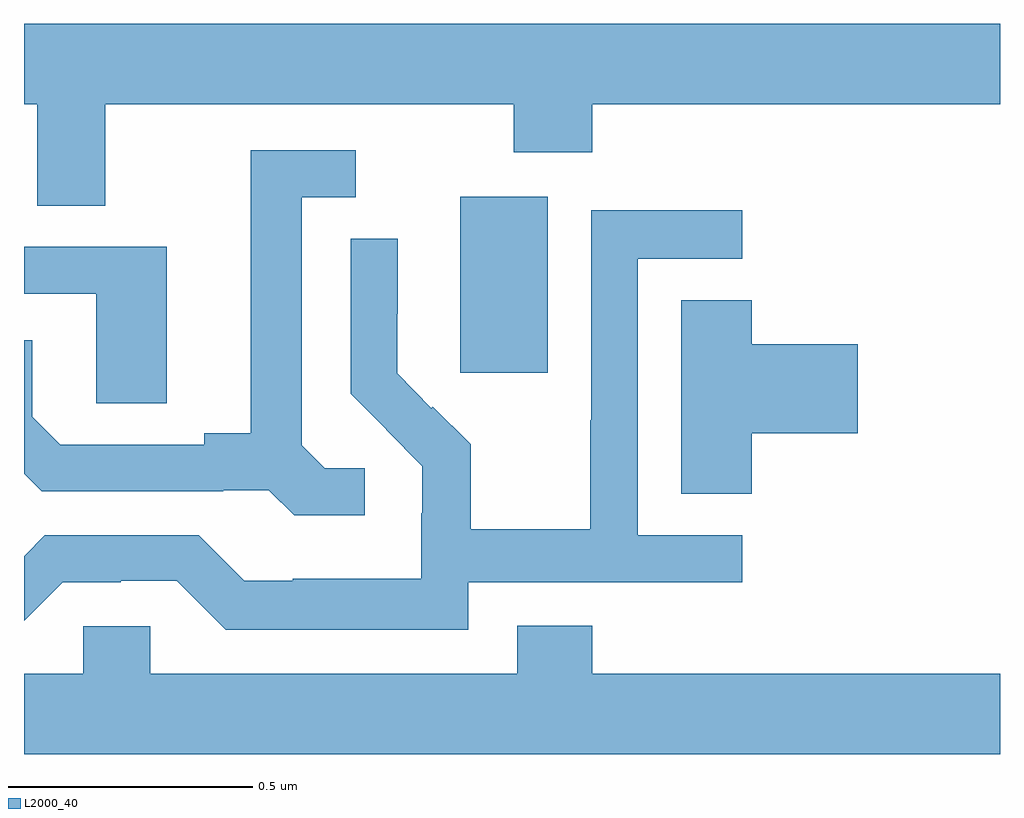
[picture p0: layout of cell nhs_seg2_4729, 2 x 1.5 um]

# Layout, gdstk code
import gdstk
lib = gdstk.Library(unit=1e-6, precision=1e-09)
def R(c, l, rs):  # rectangles x0, y0, x1, y1
    for r in rs: c.add(gdstk.rectangle(r[:2], r[2:], *l))
def P(c, l, *ps):  # polygons
    for p in ps: c.add(gdstk.Polygon(p, *l))
L2000_40 = (2000, 40)

nhs_seg2_4729 = lib.new_cell('nhs_seg2_4729')
R(nhs_seg2_4729, L2000_40, [(170.894,613.785,171.073,614.146)])
P(nhs_seg2_4729, L2000_40, [(170.167,614.336),(171.004,614.336),(171.004,614.237),(171.164,614.237),(171.164,614.336),(172,614.336),(172,614.5),(170,614.5),(170,614.336),(170.027,614.336),(170.027,614.128),(170.167,614.128)],
  [(170.698,613.59),(170.616,613.59),(170.569,613.637),(170.569,614.145),(170.68,614.145),(170.68,614.241),(170.465,614.241),(170.465,613.661),(170.369,613.661),(170.369,613.638),(170.074,613.638),(170.017,613.695),(170.017,613.852),(170,613.852),(170,613.578),(170.036,613.542),(170.408,613.542),(170.408,613.545),(170.502,613.545),(170.554,613.493),(170.698,613.493)],
  [(170.91,613.356),(171.472,613.356),(171.472,613.452),(171.258,613.452),(171.258,614.019),(171.472,614.019),(171.472,614.118),(171.162,614.118),(171.162,613.688),(171.16,613.688),(171.16,613.465),(170.915,613.465),(170.915,613.639),(170.838,613.716),(170.835,613.713),(170.765,613.784),(170.765,613.906),(170.766,613.906),(170.766,614.06),(170.67,614.06),(170.67,613.742),(170.743,613.669),(170.742,613.668),(170.816,613.594),(170.816,613.497),(170.814,613.497),(170.814,613.363),(170.551,613.363),(170.551,613.359),(170.451,613.359),(170.358,613.452),(170.043,613.452),(170,613.409),(170,613.277),(170.079,613.356),(170.198,613.356),(170.198,613.359),(170.313,613.359),(170.413,613.259),(170.91,613.259)],
  [(170.293,614.043),(170,614.043),(170,613.947),(170.148,613.947),(170.148,613.723),(170.293,613.723)],
  [(171.491,613.661),(171.709,613.661),(171.709,613.844),(171.491,613.844),(171.491,613.934),(171.347,613.934),(171.347,613.537),(171.491,613.537)],
  [(172,613.168),(171.164,613.168),(171.164,613.267),(171.011,613.267),(171.011,613.168),(170.259,613.168),(170.259,613.266),(170.121,613.266),(170.121,613.168),(170,613.168),(170,613.004),(172,613.004)])

lib.write_gds('nhs_seg2_4729.gds')
